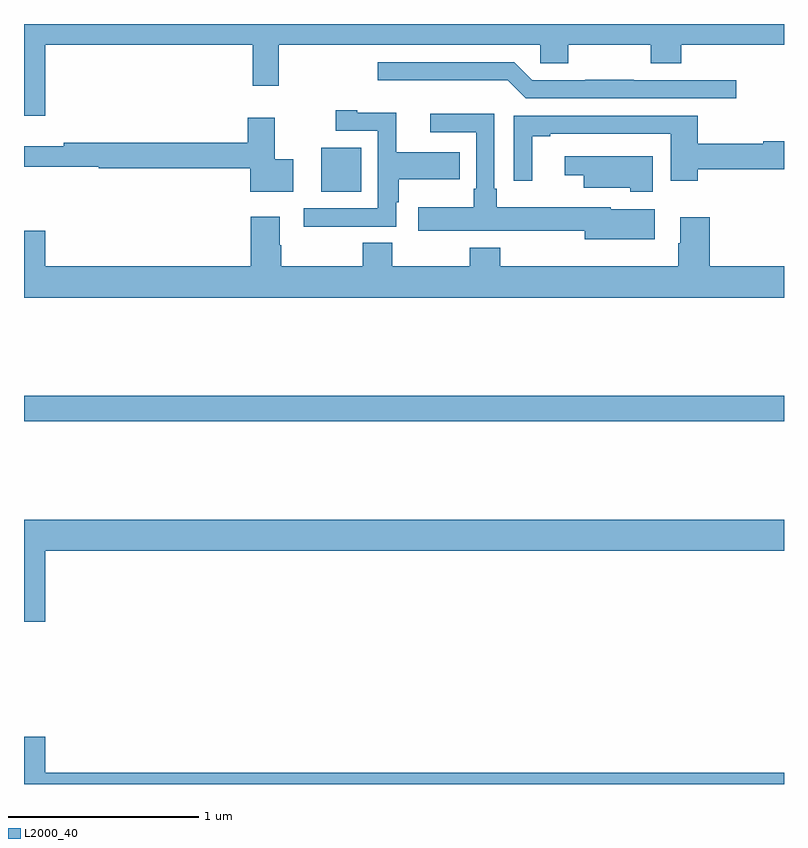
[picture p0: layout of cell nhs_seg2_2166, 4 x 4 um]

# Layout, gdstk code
import gdstk
lib = gdstk.Library(unit=1e-6, precision=1e-09)
def R(c, l, rs):  # rectangles x0, y0, x1, y1
    for r in rs: c.add(gdstk.rectangle(r[:2], r[2:], *l))
def P(c, l, *ps):  # polygons
    for p in ps: c.add(gdstk.Polygon(p, *l))
L2000_40 = (2000, 40)

nhs_seg2_2166 = lib.new_cell('nhs_seg2_2166')
R(nhs_seg2_2166, L2000_40, [(225,589.708,229,589.844), (226.565,590.918,226.774,591.148)])
P(nhs_seg2_2166, L2000_40, [(225.112,591.692),(226.204,591.692),(226.204,591.474),(226.34,591.474),(226.34,591.692),(227.718,591.692),(227.718,591.594),(227.865,591.594),(227.865,591.692),(228.298,591.692),(228.298,591.593),(228.458,591.593),(228.458,591.692),(229,591.692),(229,591.8),(225,591.8),(225,591.318),(225.112,591.318)],
  [(228.748,591.504),(228.209,591.504),(228.209,591.506),(227.953,591.506),(227.953,591.504),(227.676,591.504),(227.58,591.6),(226.863,591.6),(226.863,591.503),(227.545,591.503),(227.64,591.408),(228.748,591.408)],
  [(226.694,590.733),(226.959,590.733),(226.959,590.862),(226.972,590.862),(226.972,590.984),(227.294,590.984),(227.294,591.124),(226.96,591.124),(226.96,591.334),(226.753,591.334),(226.753,591.346),(226.641,591.346),(226.641,591.237),(226.863,591.237),(226.863,590.829),(226.473,590.829),(226.473,590.732),(226.694,590.732)],
  [(228.319,590.824),(228.087,590.824),(228.087,590.836),(227.488,590.836),(227.488,590.932),(227.475,590.932),(227.475,591.328),(227.139,591.328),(227.139,591.231),(227.379,591.231),(227.379,590.932),(227.367,590.932),(227.367,590.836),(227.076,590.836),(227.076,590.711),(227.951,590.711),(227.951,590.666),(228.319,590.666)],
  [(227.674,591.21),(227.77,591.21),(227.77,591.222),(228.404,591.222),(228.404,590.976),(228.545,590.976),(228.545,591.035),(229,591.035),(229,591.182),(228.89,591.182),(228.89,591.169),(228.545,591.169),(228.545,591.318),(227.577,591.318),(227.577,590.976),(227.674,590.976)],
  [(226.417,591.088),(226.32,591.088),(226.32,591.307),(226.178,591.307),(226.178,591.176),(225.208,591.176),(225.208,591.157),(225,591.157),(225,591.048),(225.394,591.048),(225.394,591.04),(226.19,591.04),(226.19,590.918),(226.417,590.918)],
  [(228.31,591.103),(227.847,591.103),(227.847,591.005),(227.945,591.005),(227.945,590.939),(228.192,590.939),(228.192,590.918),(228.31,590.918)],
  [(229,590.524),(228.608,590.524),(228.608,590.782),(228.455,590.782),(228.455,590.645),(228.443,590.645),(228.443,590.524),(227.507,590.524),(227.507,590.623),(227.347,590.623),(227.347,590.524),(226.938,590.524),(226.938,590.648),(226.783,590.648),(226.783,590.524),(226.353,590.524),(226.353,590.636),(226.345,590.636),(226.345,590.785),(226.193,590.785),(226.193,590.524),(225.112,590.524),(225.112,590.713),(225,590.713),(225,590.36),(229,590.36)],
  [(225.112,589.028),(229,589.028),(229,589.192),(225,589.192),(225,588.654),(225.112,588.654)],
  [(229,587.86),(225.112,587.86),(225.112,588.049),(225,588.049),(225,587.8),(229,587.8)])

lib.write_gds('nhs_seg2_2166.gds')
